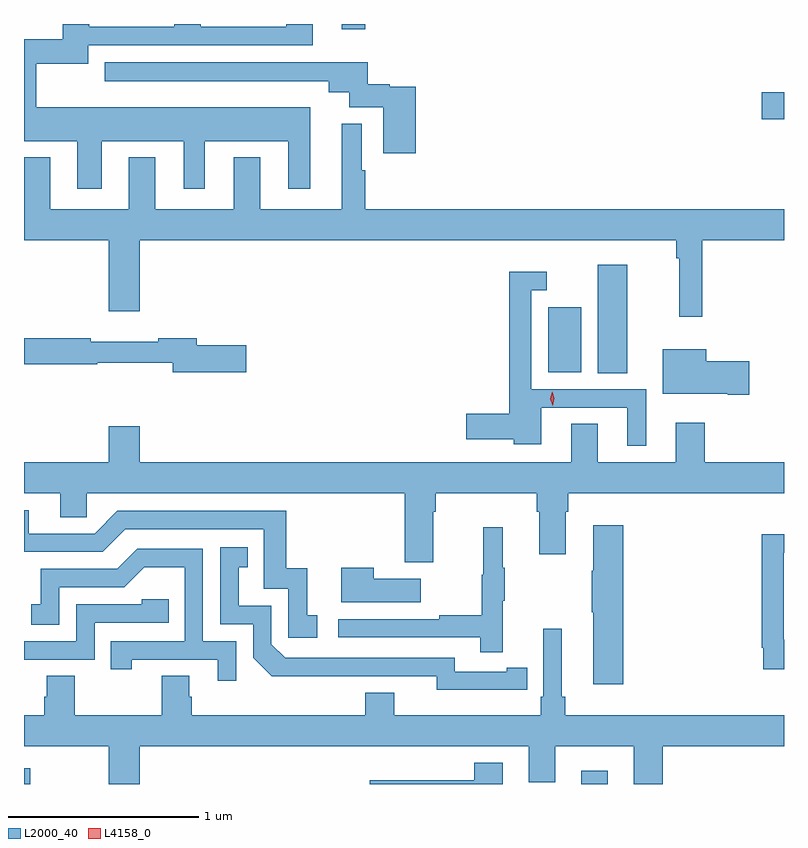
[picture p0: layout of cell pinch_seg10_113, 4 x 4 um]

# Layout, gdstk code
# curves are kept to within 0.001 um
import gdstk
lib = gdstk.Library(unit=1e-6, precision=1e-09)
def R(c, l, rs):  # rectangles x0, y0, x1, y1
    for r in rs: c.add(gdstk.rectangle(r[:2], r[2:], *l))
def P(c, l, *ps):  # polygons
    for p in ps: c.add(gdstk.Polygon(p, *l))
L2000_40 = (2000, 40)
L4158_0 = (4158, 0)

pinch_seg10_113 = lib.new_cell('pinch_seg10_113')
R(pinch_seg10_113, L2000_40, [(656.07,1302.782,656.104,1302.865), (659.003,1302.782,659.143,1302.853), (659.09,1304.944,659.245,1305.514), (658.829,1304.948,659.002,1305.292), (659.952,1306.282,660.07,1306.424), (657.743,1306.755,657.865,1306.782)])
P(pinch_seg10_113, L2000_40, [(656.479,1306.166),(656.912,1306.166),(656.912,1305.915),(657.022,1305.915),(657.022,1306.166),(657.461,1306.166),(657.461,1305.915),(657.577,1305.915),(657.577,1306.345),(656.135,1306.345),(656.135,1306.574),(656.407,1306.574),(656.407,1306.671),(657.589,1306.671),(657.589,1306.782),(657.449,1306.782),(657.449,1306.767),(657.001,1306.767),(657.001,1306.782),(656.861,1306.782),(656.861,1306.767),(656.413,1306.767),(656.413,1306.782),(656.273,1306.782),(656.273,1306.702),(656.07,1306.702),(656.07,1306.166),(656.351,1306.166),(656.351,1305.915),(656.479,1305.915)],
  [(658.133,1306.453),(657.996,1306.453),(657.996,1306.466),(657.879,1306.466),(657.879,1306.582),(656.496,1306.582),(656.496,1306.481),(657.674,1306.481),(657.674,1306.424),(657.783,1306.424),(657.783,1306.343),(657.962,1306.343),(657.962,1306.101),(658.133,1306.101)],
  [(657.173,1306.081),(657.173,1305.808),(656.761,1305.808),(656.761,1306.081),(656.621,1306.081),(656.621,1305.808),(656.209,1305.808),(656.209,1306.081),(656.07,1306.081),(656.07,1305.644),(656.516,1305.644),(656.516,1305.27),(656.68,1305.27),(656.68,1305.644),(659.503,1305.644),(659.503,1305.548),(659.518,1305.548),(659.518,1305.24),(659.639,1305.24),(659.639,1305.644),(660.07,1305.644),(660.07,1305.808),(657.865,1305.808),(657.865,1306.013),(657.847,1306.013),(657.847,1306.258),(657.743,1306.258),(657.743,1305.808),(657.313,1305.808),(657.313,1306.081)],
  [(659.344,1304.859),(658.74,1304.859),(658.74,1305.381),(658.822,1305.381),(658.822,1305.478),(658.624,1305.478),(658.624,1304.732),(658.398,1304.732),(658.398,1304.597),(658.647,1304.597),(658.647,1304.57),(658.792,1304.57),(658.792,1304.763),(659.246,1304.763),(659.246,1304.562),(659.344,1304.562)],
  [(657.241,1305.092),(656.98,1305.092),(656.98,1305.128),(656.776,1305.128),(656.776,1305.109),(656.42,1305.109),(656.42,1305.128),(656.07,1305.128),(656.07,1304.992),(656.456,1304.992),(656.456,1305),(656.852,1305),(656.852,1304.95),(657.241,1304.95)],
  [(659.887,1305.008),(659.662,1305.008),(659.662,1305.07),(659.432,1305.07),(659.432,1304.837),(659.774,1304.837),(659.774,1304.83),(659.887,1304.83)],
  [(658.225,1304.216),(658.238,1304.216),(658.238,1304.312),(658.769,1304.312),(658.769,1304.216),(658.781,1304.216),(658.781,1303.992),(658.921,1303.992),(658.921,1304.216),(658.934,1304.216),(658.934,1304.312),(660.07,1304.312),(660.07,1304.476),(659.654,1304.476),(659.654,1304.683),(659.501,1304.683),(659.501,1304.476),(659.089,1304.476),(659.089,1304.678),(658.949,1304.678),(658.949,1304.476),(656.68,1304.476),(656.68,1304.665),(656.516,1304.665),(656.516,1304.476),(656.07,1304.476),(656.07,1304.312),(656.261,1304.312),(656.261,1304.185),(656.4,1304.185),(656.4,1304.312),(658.073,1304.312),(658.073,1303.95),(658.225,1303.95)],
  [(657.613,1303.671),(657.56,1303.671),(657.56,1303.918),(657.449,1303.918),(657.449,1304.22),(656.562,1304.22),(656.442,1304.1),(656.095,1304.1),(656.095,1304.223),(656.07,1304.223),(656.07,1304.004),(656.484,1304.004),(656.604,1304.124),(657.333,1304.124),(657.333,1303.809),(657.462,1303.809),(657.462,1303.551),(657.613,1303.551)],
  [(659.225,1304.143),(659.066,1304.143),(659.066,1303.904),(659.059,1303.904),(659.059,1303.687),(659.066,1303.687),(659.066,1303.308),(659.225,1303.308)],
  [(658.589,1303.747),(658.6,1303.747),(658.6,1303.921),(658.589,1303.921),(658.589,1304.134),(658.486,1304.134),(658.486,1303.884),(658.479,1303.884),(658.479,1303.67),(658.255,1303.67),(658.255,1303.65),(657.723,1303.65),(657.723,1303.554),(658.471,1303.554),(658.471,1303.476),(658.589,1303.476)],
  [(660.07,1303.542),(660.069,1303.542),(660.069,1303.998),(660.07,1303.998),(660.07,1304.096),(659.953,1304.096),(659.953,1303.498),(659.961,1303.498),(659.961,1303.386),(660.07,1303.386)],
  [(658.61,1303.278),(658.718,1303.278),(658.718,1303.394),(658.61,1303.394),(658.61,1303.374),(658.338,1303.374),(658.338,1303.446),(657.444,1303.446),(657.372,1303.518),(657.372,1303.719),(657.199,1303.719),(657.199,1303.923),(657.248,1303.923),(657.248,1304.029),(657.102,1304.029),(657.102,1303.623),(657.276,1303.623),(657.276,1303.446),(657.374,1303.349),(658.242,1303.35),(658.242,1303.277)],
  [(657.186,1303.533),(657.012,1303.533),(657.012,1304.019),(656.666,1304.019),(656.561,1303.914),(656.158,1303.914),(656.158,1303.729),(656.109,1303.729),(656.109,1303.62),(656.256,1303.62),(656.256,1303.818),(656.598,1303.818),(656.702,1303.922),(656.916,1303.922),(656.916,1303.533),(656.527,1303.533),(656.527,1303.386),(656.638,1303.386),(656.638,1303.437),(657.089,1303.437),(657.089,1303.326),(657.186,1303.326)],
  [(658.159,1303.861),(657.911,1303.861),(657.911,1303.921),(657.74,1303.921),(657.74,1303.739),(658.159,1303.739)],
  [(656.442,1303.632),(656.831,1303.632),(656.831,1303.755),(656.691,1303.755),(656.691,1303.728),(656.346,1303.728),(656.346,1303.533),(656.07,1303.533),(656.07,1303.437),(656.442,1303.437)],
  [(656.68,1302.98),(658.727,1302.98),(658.727,1302.79),(658.867,1302.79),(658.867,1302.98),(659.279,1302.98),(659.279,1302.782),(659.432,1302.782),(659.432,1302.98),(660.07,1302.98),(660.07,1303.144),(658.919,1303.144),(658.919,1303.24),(658.9,1303.24),(658.9,1303.6),(658.803,1303.6),(658.803,1303.24),(658.79,1303.24),(658.79,1303.144),(658.018,1303.144),(658.018,1303.261),(657.866,1303.261),(657.866,1303.144),(656.954,1303.144),(656.954,1303.242),(656.941,1303.242),(656.941,1303.352),(656.794,1303.352),(656.794,1303.144),(656.337,1303.144),(656.337,1303.352),(656.189,1303.352),(656.189,1303.242),(656.177,1303.242),(656.177,1303.144),(656.07,1303.144),(656.07,1302.98),(656.516,1302.98),(656.516,1302.782),(656.68,1302.782)],
  [(658.591,1302.895),(658.439,1302.895),(658.439,1302.802),(657.891,1302.802),(657.891,1302.782),(658.591,1302.782)])
P(pinch_seg10_113, L4158_0, [(658.854,1304.774),(658.854,1304.774),(658.841,1304.81),(658.849,1304.846),(658.849,1304.847),(658.849,1304.846),(658.861,1304.811),(658.854,1304.774)])

lib.write_gds('pinch_seg10_113.gds')
